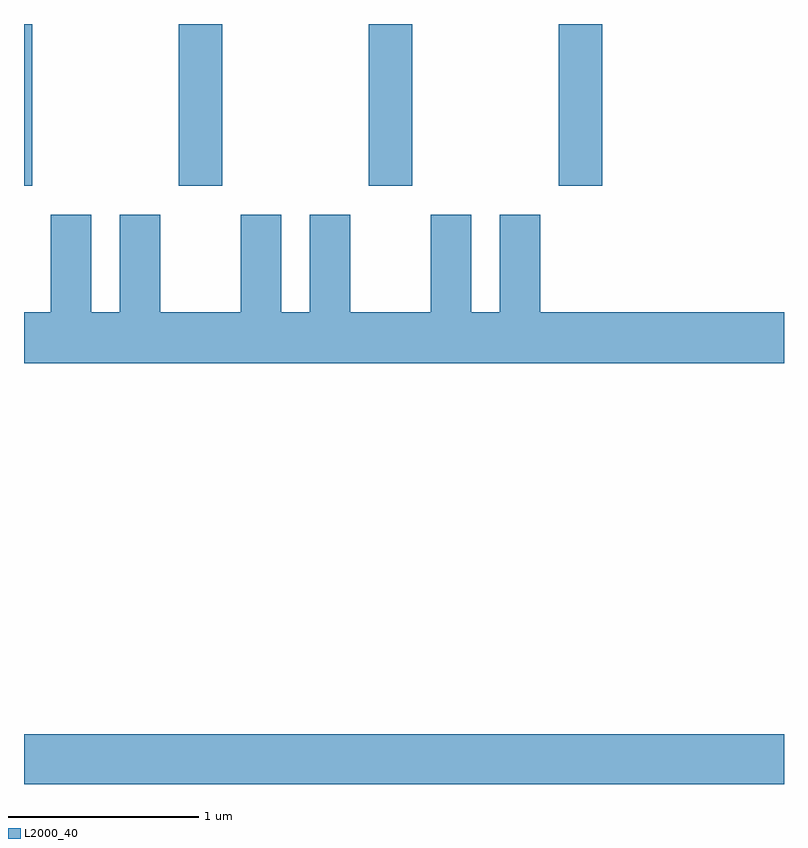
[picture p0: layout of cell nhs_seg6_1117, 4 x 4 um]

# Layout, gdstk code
import gdstk
lib = gdstk.Library(unit=1e-6, precision=1e-09)
def R(c, l, rs):  # rectangles x0, y0, x1, y1
    for r in rs: c.add(gdstk.rectangle(r[:2], r[2:], *l))
def A(c, l, x, y, w, h, nx, ny, dx, dy):  # array of equal rectangles
    R(c, l, [(x+i*dx, y+j*dy, x+i*dx+w, y+j*dy+h) for i in range(nx) for j in range(ny)])
def P(c, l, *ps):  # polygons
    for p in ps: c.add(gdstk.Polygon(p, *l))
L2000_40 = (2000, 40)

nhs_seg6_1117 = lib.new_cell('nhs_seg6_1117')
A(nhs_seg6_1117, L2000_40, 218.426, 1655.311, 0.228, 0.851, 3, 1, 1, 0)
R(nhs_seg6_1117, L2000_40, [(217.611,1652.162,221.611,1652.424), (217.611,1655.311,217.654,1656.162)])
P(nhs_seg6_1117, L2000_40, [(221.611,1654.644),(220.329,1654.644),(220.329,1655.159),(220.116,1655.159),(220.116,1654.644),(219.964,1654.644),(219.964,1655.159),(219.751,1655.159),(219.751,1654.644),(219.329,1654.644),(219.329,1655.159),(219.116,1655.159),(219.116,1654.644),(218.964,1654.644),(218.964,1655.159),(218.751,1655.159),(218.751,1654.644),(218.329,1654.644),(218.329,1655.159),(218.116,1655.159),(218.116,1654.644),(217.964,1654.644),(217.964,1655.159),(217.751,1655.159),(217.751,1654.644),(217.611,1654.644),(217.611,1654.376),(221.611,1654.376)])

lib.write_gds('nhs_seg6_1117.gds')
